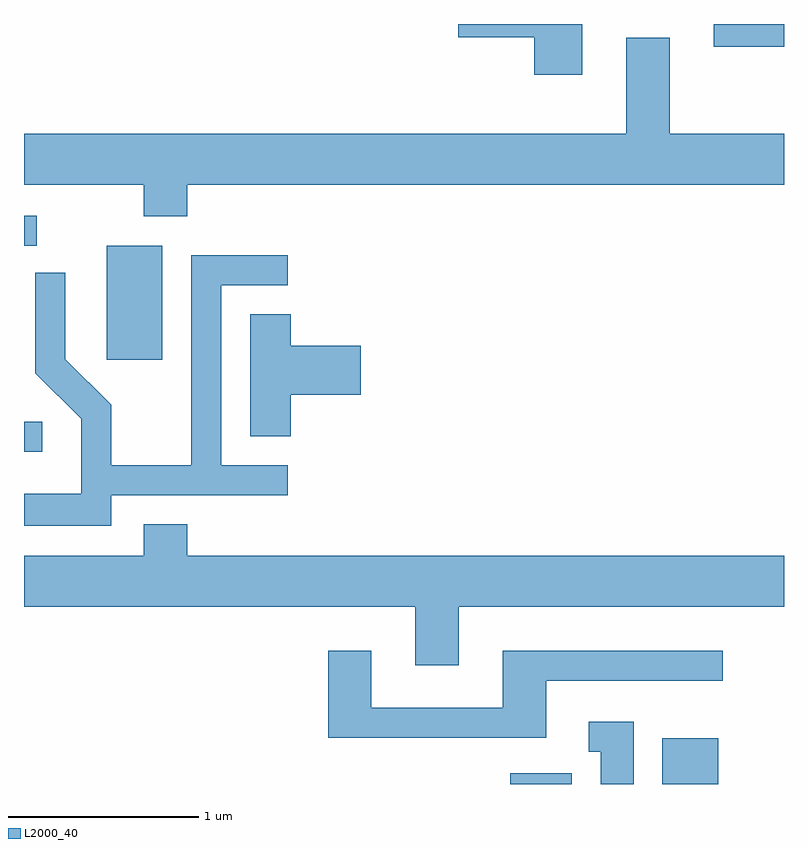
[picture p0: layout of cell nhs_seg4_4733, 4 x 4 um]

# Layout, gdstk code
import gdstk
lib = gdstk.Library(unit=1e-6, precision=1e-09)
def R(c, l, rs):  # rectangles x0, y0, x1, y1
    for r in rs: c.add(gdstk.rectangle(r[:2], r[2:], *l))
def P(c, l, *ps):  # polygons
    for p in ps: c.add(gdstk.Polygon(p, *l))
L2000_40 = (2000, 40)

nhs_seg4_4733 = lib.new_cell('nhs_seg4_4733')
R(nhs_seg4_4733, L2000_40, [(326.171,1335.982,326.494,1336.039), (326.971,1335.982,327.264,1336.224), (323.611,1337.731,323.708,1337.889), (324.046,1338.216,324.339,1338.814), (323.611,1338.816,323.678,1338.974), (327.241,1339.861,327.611,1339.982)])
P(nhs_seg4_4733, L2000_40, [(326.549,1339.982),(325.896,1339.982),(325.896,1339.911),(326.296,1339.911),(326.296,1339.716),(326.549,1339.716)],
  [(324.469,1339.136),(327.611,1339.136),(327.611,1339.404),(327.009,1339.404),(327.009,1339.909),(326.781,1339.909),(326.781,1339.404),(323.611,1339.404),(323.611,1339.136),(324.241,1339.136),(324.241,1338.971),(324.469,1338.971)],
  [(324.069,1337.501),(324.998,1337.501),(324.998,1337.659),(324.649,1337.659),(324.649,1338.606),(324.998,1338.606),(324.998,1338.764),(324.491,1338.764),(324.491,1337.659),(324.069,1337.659),(324.069,1337.977),(323.829,1338.217),(323.829,1338.673),(323.671,1338.673),(323.671,1338.144),(323.911,1337.904),(323.911,1337.509),(323.611,1337.509),(323.611,1337.341),(324.069,1337.341)],
  [(325.014,1338.031),(325.384,1338.031),(325.384,1338.289),(325.014,1338.289),(325.014,1338.454),(324.801,1338.454),(324.801,1337.811),(325.014,1337.811)],
  [(325.899,1336.916),(327.611,1336.916),(327.611,1337.184),(324.469,1337.184),(324.469,1337.349),(324.241,1337.349),(324.241,1337.184),(323.611,1337.184),(323.611,1336.916),(325.671,1336.916),(325.671,1336.606),(325.899,1336.606)],
  [(326.359,1336.526),(327.288,1336.526),(327.288,1336.684),(326.131,1336.684),(326.131,1336.384),(325.439,1336.384),(325.439,1336.684),(325.211,1336.684),(325.211,1336.226),(326.359,1336.226)],
  [(326.819,1336.309),(326.583,1336.309),(326.583,1336.151),(326.646,1336.151),(326.646,1335.982),(326.819,1335.982)])

lib.write_gds('nhs_seg4_4733.gds')
